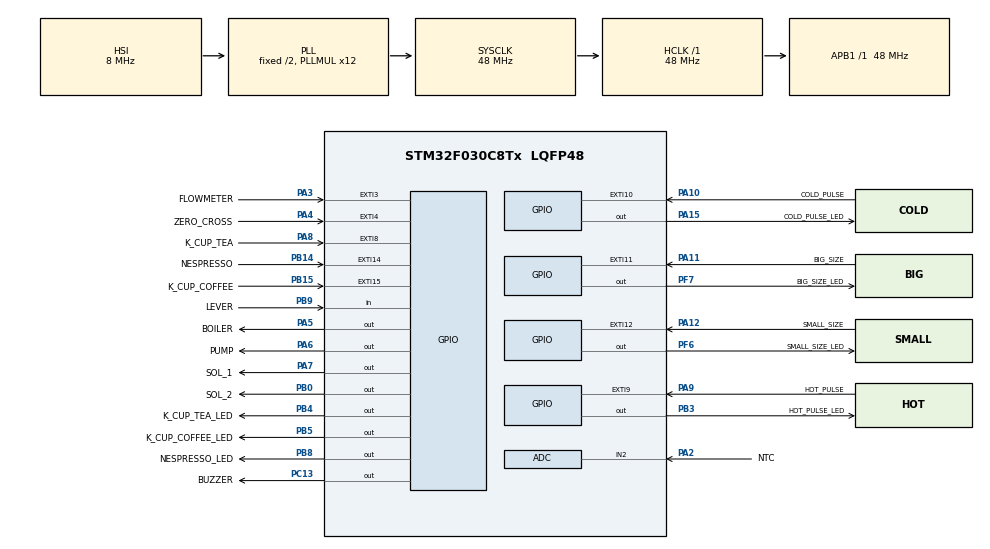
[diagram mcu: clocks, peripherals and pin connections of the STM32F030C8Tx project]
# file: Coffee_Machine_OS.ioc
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ADC.SamplingTime=ADC_SAMPLETIME_239CYCLES_5
FREERTOS.INCLUDE_xTaskGetCurrentTaskHandle=0
FREERTOS.INCLUDE_xTaskGetHandle=0
FREERTOS.Tasks01=ledhandlertask,24,64,LedHandler,Default,NULL,Dynamic,NULL,NULL;buttonhandlertask,24,64,ButtonHandler,Default,NULL,Dynamic,NULL,NULL;maintask,24,256,MainTaskHandler,Default,NULL,Dynamic,NULL,NULL;buzzerhandlertask,24,64,BuzzerHandler,Default,NULL,Dynamic,NULL,NULL;errorhandlertask,24,64,ErrorHandler,Default,NULL,Dynamic,NULL,NULL
FREERTOS.configMAX_TASK_NAME_LEN=25
FREERTOS.configMINIMAL_STACK_SIZE=64
FREERTOS.configTOTAL_HEAP_SIZE=3072
FREERTOS.configUSE_MUTEXES=1
FREERTOS.configUSE_TIMERS=0
Mcu.Family=STM32F0
Mcu.Name=STM32F030C8Tx
Mcu.Package=LQFP48
NVIC.EXTI2_3_IRQn=true\:3\:0\:true\:false\:true\:true\:true\:true\:true
NVIC.EXTI4_15_IRQn=true\:3\:0\:false\:false\:true\:true\:true\:true\:true
NVIC.TIM14_IRQn=true\:0\:0\:false\:false\:true\:false\:true\:true\:true
NVIC.TIM1_BRK_UP_TRG_COM_IRQn=true\:3\:0\:false\:false\:true\:false\:false\:true\:true
NVIC.TIM6_IRQn=true\:3\:0\:false\:false\:true\:true\:true\:true\:true
NVIC.TimeBase=TIM1_BRK_UP_TRG_COM_IRQn
NVIC.TimeBaseIP=TIM1
PA10.GPIO_Label=COLD_PULSE
PA10.GPIO_ModeDefaultEXTI=GPIO_MODE_IT_FALLING
PA10.GPIO_PuPd=GPIO_PULLUP
PA10.Signal=GPXTI10
PA11.GPIO_Label=BIG_SIZE
PA11.GPIO_ModeDefaultEXTI=GPIO_MODE_IT_FALLING
PA11.GPIO_PuPd=GPIO_PULLUP
PA11.Signal=GPXTI11
PA12.GPIO_Label=SMALL_SIZE
PA12.GPIO_ModeDefaultEXTI=GPIO_MODE_IT_FALLING
PA12.GPIO_PuPd=GPIO_PULLUP
PA12.Signal=GPXTI12
PA13.Mode=Serial_Wire
PA13.Signal=SYS_SWDIO
PA14.Mode=Serial_Wire
PA14.Signal=SYS_SWCLK
PA15.GPIO_Label=COLD_PULSE_LED
PA15.Signal=GPIO_Output
PA2.GPIO_Label=NTC
PA2.Mode=IN2
PA2.Signal=ADC_IN2
PA3.GPIO_Label=FLOWMETER
PA3.Signal=GPXTI3
PA4.GPIO_Label=ZERO_CROSS
PA4.GPIO_ModeDefaultEXTI=GPIO_MODE_IT_FALLING
PA4.Signal=GPXTI4
PA5.GPIO_Label=BOILER
PA5.Signal=GPIO_Output
PA6.GPIO_Label=PUMP
PA6.Signal=GPIO_Output
PA7.GPIO_Label=SOL_1
PA7.Signal=GPIO_Output
PA8.GPIO_Label=K_CUP_TEA
PA8.GPIO_ModeDefaultEXTI=GPIO_MODE_IT_FALLING
PA8.GPIO_PuPd=GPIO_PULLUP
PA8.Signal=GPXTI8
PA9.GPIO_Label=HOT_PULSE
PA9.GPIO_ModeDefaultEXTI=GPIO_MODE_IT_FALLING
PA9.GPIO_PuPd=GPIO_PULLUP
PA9.Signal=GPXTI9
PB0.GPIO_Label=SOL_2
PB0.Signal=GPIO_Output
PB14.GPIO_Label=NESPRESSO
PB14.GPIO_ModeDefaultEXTI=GPIO_MODE_IT_FALLING
PB14.GPIO_PuPd=GPIO_PULLUP
PB14.Signal=GPXTI14
PB15.GPIO_Label=K_CUP_COFFEE
PB15.GPIO_ModeDefaultEXTI=GPIO_MODE_IT_FALLING
PB15.GPIO_PuPd=GPIO_PULLUP
PB15.Signal=GPXTI15
PB3.GPIO_Label=HOT_PULSE_LED
PB3.Signal=GPIO_Output
PB4.GPIO_Label=K_CUP_TEA_LED
PB4.Signal=GPIO_Output
PB5.GPIO_Label=K_CUP_COFFEE_LED
PB5.Signal=GPIO_Output
PB8.GPIO_Label=NESPRESSO_LED
PB8.Signal=GPIO_Output
PB9.GPIO_Label=LEVER
PB9.Signal=GPIO_Input
PC13.GPIO_Label=BUZZER
PC13.Signal=GPIO_Output
PF6.GPIO_Label=SMALL_SIZE_LED
PF6.Signal=GPIO_Output
PF7.GPIO_Label=BIG_SIZE_LED
PF7.Signal=GPIO_Output
ProjectManager.HeapSize=0x200
ProjectManager.StackSize=0x400
ProjectManager.TargetToolchain=MDK-ARM V5
RCC.AHBFreq_Value=48000000
RCC.APB1Freq_Value=48000000
RCC.APB1TimFreq_Value=48000000
RCC.HCLKFreq_Value=48000000
RCC.PLLMUL=RCC_PLL_MUL12
RCC.SYSCLKFreq_VALUE=48000000
RCC.SYSCLKSource=RCC_SYSCLKSOURCE_PLLCLK
TIM14.Period=100
TIM14.Prescaler=48-1
TIM6.Period=1000
TIM6.Prescaler=6-1
VP_FREERTOS_VS_CMSIS_V2.Mode=CMSIS_V2
VP_SYS_VS_tim1.Mode=TIM1
VP_TIM14_VS_ClockSourceINT.Mode=Enable_Timer
VP_TIM6_VS_ClockSourceINT.Mode=Enable_Timer
board=custom

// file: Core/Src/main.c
/* USER CODE BEGIN Header */
/**
  ******************************************************************************
  * @file           : main.c
  * @brief          : Main program body
  ******************************************************************************
  * @attention
  *
  * Copyright (c) 2022 STMicroelectronics.
  * All rights reserved.
  *
  * This software is licensed under terms that can be found in the LICENSE file
  * in the root directory of this software component.
  * If no LICENSE file comes with this software, it is provided AS-IS.
  *
  ******************************************************************************
  */
/* USER CODE END Header */
#include "main.h"
#include "cmsis_os.h"

ADC_HandleTypeDef hadc;

TIM_HandleTypeDef htim6;
TIM_HandleTypeDef htim14;

/* Definitions for ledhandlertask */
osThreadId_t ledhandlertaskHandle;
const osThreadAttr_t ledhandlertask_attributes = {
  .name = "ledhandlertask",
  .stack_size = 64 * 4,
  .priority = (osPriority_t) osPriorityNormal,
};
/* Definitions for buttonhandlertask */
osThreadId_t buttonhandlertaskHandle;
const osThreadAttr_t buttonhandlertask_attributes = {
  .name = "buttonhandlertask",
  .stack_size = 64 * 4,
  .priority = (osPriority_t) osPriorityNormal,
};
/* Definitions for maintask */
osThreadId_t maintaskHandle;
const osThreadAttr_t maintask_attributes = {
  .name = "maintask",
  .stack_size = 256 * 4,
  .priority = (osPriority_t) osPriorityNormal,
};
/* Definitions for buzzerhandlertask */
osThreadId_t buzzerhandlertaskHandle;
const osThreadAttr_t buzzerhandlertask_attributes = {
  .name = "buzzerhandlertask",
  .stack_size = 64 * 4,
  .priority = (osPriority_t) osPriorityNormal,
};
/* Definitions for errorhandlertask */
osThreadId_t errorhandlertaskHandle;
const osThreadAttr_t errorhandlertask_attributes = {
  .name = "errorhandlertask",
  .stack_size = 64 * 4,
  .priority = (osPriority_t) osPriorityNormal,
};

void SystemClock_Config(void);
static void MX_GPIO_Init(void);
static void MX_ADC_Init(void);
static void MX_TIM6_Init(void);
static void MX_TIM14_Init(void);
void LedHandler(void *argument);
void ButtonHandler(void *argument);
void MainTaskHandler(void *argument);
void BuzzerHandler(void *argument);
void ErrorHandler(void *argument);

int main(void)
{

  /* MCU Configuration--------------------------------------------------------*/

  /* Reset of all peripherals, Initializes the Flash interface and the Systick. */
  HAL_Init();

  /* Configure the system clock */
  SystemClock_Config();

  /* Initialize all configured peripherals */
  MX_GPIO_Init();
  MX_ADC_Init();
  MX_TIM6_Init();
  MX_TIM14_Init();

  /* Init scheduler */
  osKernelInitialize();

  /* Create the thread(s) */
  /* creation of ledhandlertask */
  ledhandlertaskHandle = osThreadNew(LedHandler, NULL, &ledhandlertask_attributes);

  /* creation of buttonhandlertask */
  buttonhandlertaskHandle = osThreadNew(ButtonHandler, NULL, &buttonhandlertask_attributes);

  /* creation of maintask */
  maintaskHandle = osThreadNew(MainTaskHandler, NULL, &maintask_attributes);

  /* creation of buzzerhandlertask */
  buzzerhandlertaskHandle = osThreadNew(BuzzerHandler, NULL, &buzzerhandlertask_attributes);

  /* creation of errorhandlertask */
  errorhandlertaskHandle = osThreadNew(ErrorHandler, NULL, &errorhandlertask_attributes);

  /* Start scheduler */
  osKernelStart();

  /* We should never get here as control is now taken by the scheduler */
  /* Infinite loop */
  while (1)
  {

  }
}

void SystemClock_Config(void)
{
  RCC_OscInitTypeDef RCC_OscInitStruct = {0};
  RCC_ClkInitTypeDef RCC_ClkInitStruct = {0};

  /** Initializes the RCC Oscillators according to the specified parameters
  * in the RCC_OscInitTypeDef structure.
  */
  RCC_OscInitStruct.OscillatorType = RCC_OSCILLATORTYPE_HSI|RCC_OSCILLATORTYPE_HSI14;
  RCC_OscInitStruct.HSIState = RCC_HSI_ON;
  RCC_OscInitStruct.HSI14State = RCC_HSI14_ON;
  RCC_OscInitStruct.HSICalibrationValue = RCC_HSICALIBRATION_DEFAULT;
  RCC_OscInitStruct.HSI14CalibrationValue = 16;
  RCC_OscInitStruct.PLL.PLLState = RCC_PLL_ON;
  RCC_OscInitStruct.PLL.PLLSource = RCC_PLLSOURCE_HSI;
  RCC_OscInitStruct.PLL.PLLMUL = RCC_PLL_MUL12;
  RCC_OscInitStruct.PLL.PREDIV = RCC_PREDIV_DIV1;
  if (HAL_RCC_OscConfig(&RCC_OscInitStruct) != HAL_OK)
  {
    Error_Handler();
  }

  /** Initializes the CPU, AHB and APB buses clocks
  */
  RCC_ClkInitStruct.ClockType = RCC_CLOCKTYPE_HCLK|RCC_CLOCKTYPE_SYSCLK
                              |RCC_CLOCKTYPE_PCLK1;
  RCC_ClkInitStruct.SYSCLKSource = RCC_SYSCLKSOURCE_PLLCLK;
  RCC_ClkInitStruct.AHBCLKDivider = RCC_SYSCLK_DIV1;
  RCC_ClkInitStruct.APB1CLKDivider = RCC_HCLK_DIV1;

  if (HAL_RCC_ClockConfig(&RCC_ClkInitStruct, FLASH_LATENCY_1) != HAL_OK)
  {
    Error_Handler();
  }
}

static void MX_ADC_Init(void)
{

  ADC_ChannelConfTypeDef sConfig = {0};

  /** Configure the global features of the ADC (Clock, Resolution, Data Alignment and number of conversion)
  */
  hadc.Instance = ADC1;
  hadc.Init.ClockPrescaler = ADC_CLOCK_ASYNC_DIV1;
  hadc.Init.Resolution = ADC_RESOLUTION_12B;
  hadc.Init.DataAlign = ADC_DATAALIGN_RIGHT;
  hadc.Init.ScanConvMode = ADC_SCAN_DIRECTION_FORWARD;
  hadc.Init.EOCSelection = ADC_EOC_SINGLE_CONV;
  hadc.Init.LowPowerAutoWait = DISABLE;
  hadc.Init.LowPowerAutoPowerOff = DISABLE;
  hadc.Init.ContinuousConvMode = DISABLE;
  hadc.Init.DiscontinuousConvMode = DISABLE;
  hadc.Init.ExternalTrigConv = ADC_SOFTWARE_START;
  hadc.Init.ExternalTrigConvEdge = ADC_EXTERNALTRIGCONVEDGE_NONE;
  hadc.Init.DMAContinuousRequests = DISABLE;
  hadc.Init.Overrun = ADC_OVR_DATA_PRESERVED;
  if (HAL_ADC_Init(&hadc) != HAL_OK)
  {
    Error_Handler();
  }

  /** Configure for the selected ADC regular channel to be converted.
  */
  sConfig.Channel = ADC_CHANNEL_2;
  sConfig.Rank = ADC_RANK_CHANNEL_NUMBER;
  sConfig.SamplingTime = ADC_SAMPLETIME_239CYCLES_5;
  if (HAL_ADC_ConfigChannel(&hadc, &sConfig) != HAL_OK)
  {
    Error_Handler();
  }

}

static void MX_TIM6_Init(void)
{

  htim6.Instance = TIM6;
  htim6.Init.Prescaler = 6-1;
  htim6.Init.CounterMode = TIM_COUNTERMODE_UP;
  htim6.Init.Period = 1000;
  htim6.Init.AutoReloadPreload = TIM_AUTORELOAD_PRELOAD_DISABLE;
  if (HAL_TIM_Base_Init(&htim6) != HAL_OK)
  {
    Error_Handler();
  }

}

static void MX_TIM14_Init(void)
{

  htim14.Instance = TIM14;
  htim14.Init.Prescaler = 48-1;
  htim14.Init.CounterMode = TIM_COUNTERMODE_UP;
  htim14.Init.Period = 100;
  htim14.Init.ClockDivision = TIM_CLOCKDIVISION_DIV1;
  htim14.Init.AutoReloadPreload = TIM_AUTORELOAD_PRELOAD_DISABLE;
  if (HAL_TIM_Base_Init(&htim14) != HAL_OK)
  {
    Error_Handler();
  }

}

static void MX_GPIO_Init(void)
{
  GPIO_InitTypeDef GPIO_InitStruct = {0};

  /* GPIO Ports Clock Enable */
  __HAL_RCC_GPIOC_CLK_ENABLE();
  __HAL_RCC_GPIOA_CLK_ENABLE();
  __HAL_RCC_GPIOB_CLK_ENABLE();
  __HAL_RCC_GPIOF_CLK_ENABLE();

  /*Configure GPIO pin Output Level */
  HAL_GPIO_WritePin(BUZZER_GPIO_Port, BUZZER_Pin, GPIO_PIN_RESET);

  /*Configure GPIO pin Output Level */
  HAL_GPIO_WritePin(GPIOA, BOILER_Pin|PUMP_Pin|SOL_1_Pin|COLD_PULSE_LED_Pin, GPIO_PIN_RESET);

  /*Configure GPIO pin Output Level */
  HAL_GPIO_WritePin(GPIOB, SOL_2_Pin|HOT_PULSE_LED_Pin|K_CUP_TEA_LED_Pin|K_CUP_COFFEE_LED_Pin
                          |NESPRESSO_LED_Pin, GPIO_PIN_RESET);

  /*Configure GPIO pin Output Level */
  HAL_GPIO_WritePin(GPIOF, SMALL_SIZE_LED_Pin|BIG_SIZE_LED_Pin, GPIO_PIN_RESET);

  /*Configure GPIO pin : BUZZER_Pin */
  GPIO_InitStruct.Pin = BUZZER_Pin;
  GPIO_InitStruct.Mode = GPIO_MODE_OUTPUT_PP;
  GPIO_InitStruct.Pull = GPIO_NOPULL;
  GPIO_InitStruct.Speed = GPIO_SPEED_FREQ_LOW;
  HAL_GPIO_Init(BUZZER_GPIO_Port, &GPIO_InitStruct);

  /*Configure GPIO pin : FLOWMETER_Pin */
  GPIO_InitStruct.Pin = FLOWMETER_Pin;
  GPIO_InitStruct.Mode = GPIO_MODE_IT_RISING;
  GPIO_InitStruct.Pull = GPIO_NOPULL;
  HAL_GPIO_Init(FLOWMETER_GPIO_Port, &GPIO_InitStruct);

  /*Configure GPIO pin : ZERO_CROSS_Pin */
  GPIO_InitStruct.Pin = ZERO_CROSS_Pin;
  GPIO_InitStruct.Mode = GPIO_MODE_IT_FALLING;
  GPIO_InitStruct.Pull = GPIO_NOPULL;
  HAL_GPIO_Init(ZERO_CROSS_GPIO_Port, &GPIO_InitStruct);

  /*Configure GPIO pins : BOILER_Pin PUMP_Pin SOL_1_Pin COLD_PULSE_LED_Pin */
  GPIO_InitStruct.Pin = BOILER_Pin|PUMP_Pin|SOL_1_Pin|COLD_PULSE_LED_Pin;
  GPIO_InitStruct.Mode = GPIO_MODE_OUTPUT_PP;
  GPIO_InitStruct.Pull = GPIO_NOPULL;
  GPIO_InitStruct.Speed = GPIO_SPEED_FREQ_LOW;
  HAL_GPIO_Init(GPIOA, &GPIO_InitStruct);

  /*Configure GPIO pins : SOL_2_Pin HOT_PULSE_LED_Pin K_CUP_TEA_LED_Pin K_CUP_COFFEE_LED_Pin
                           NESPRESSO_LED_Pin */
  GPIO_InitStruct.Pin = SOL_2_Pin|HOT_PULSE_LED_Pin|K_CUP_TEA_LED_Pin|K_CUP_COFFEE_LED_Pin
                          |NESPRESSO_LED_Pin;
  GPIO_InitStruct.Mode = GPIO_MODE_OUTPUT_PP;
  GPIO_InitStruct.Pull = GPIO_NOPULL;
  GPIO_InitStruct.Speed = GPIO_SPEED_FREQ_LOW;
  HAL_GPIO_Init(GPIOB, &GPIO_InitStruct);

  /*Configure GPIO pins : NESPRESSO_Pin K_CUP_COFFEE_Pin */
  GPIO_InitStruct.Pin = NESPRESSO_Pin|K_CUP_COFFEE_Pin;
  GPIO_InitStruct.Mode = GPIO_MODE_IT_FALLING;
  GPIO_InitStruct.Pull = GPIO_PULLUP;
  HAL_GPIO_Init(GPIOB, &GPIO_InitStruct);

  /*Configure GPIO pins : K_CUP_TEA_Pin HOT_PULSE_Pin COLD_PULSE_Pin BIG_SIZE_Pin
                           SMALL_SIZE_Pin */
  GPIO_InitStruct.Pin = K_CUP_TEA_Pin|HOT_PULSE_Pin|COLD_PULSE_Pin|BIG_SIZE_Pin
                          |SMALL_SIZE_Pin;
  GPIO_InitStruct.Mode = GPIO_MODE_IT_FALLING;
  GPIO_InitStruct.Pull = GPIO_PULLUP;
  HAL_GPIO_Init(GPIOA, &GPIO_InitStruct);

  /*Configure GPIO pins : SMALL_SIZE_LED_Pin BIG_SIZE_LED_Pin */
  GPIO_InitStruct.Pin = SMALL_SIZE_LED_Pin|BIG_SIZE_LED_Pin;
  GPIO_InitStruct.Mode = GPIO_MODE_OUTPUT_PP;
  GPIO_InitStruct.Pull = GPIO_NOPULL;
  GPIO_InitStruct.Speed = GPIO_SPEED_FREQ_LOW;
  HAL_GPIO_Init(GPIOF, &GPIO_InitStruct);

  /*Configure GPIO pin : LEVER_Pin */
  GPIO_InitStruct.Pin = LEVER_Pin;
  GPIO_InitStruct.Mode = GPIO_MODE_INPUT;
  GPIO_InitStruct.Pull = GPIO_NOPULL;
  HAL_GPIO_Init(LEVER_GPIO_Port, &GPIO_InitStruct);

  /* EXTI interrupt init*/
  HAL_NVIC_SetPriority(EXTI2_3_IRQn, 3, 0);
  HAL_NVIC_EnableIRQ(EXTI2_3_IRQn);

  HAL_NVIC_SetPriority(EXTI4_15_IRQn, 3, 0);
  HAL_NVIC_EnableIRQ(EXTI4_15_IRQn);

}

/* USER CODE BEGIN 4 */
void HAL_GPIO_EXTI_Callback(uint16_t GPIO_Pin)
{
	if(GPIO_Pin == ZERO_CROSS_Pin)
    {
			zero_cross_handler();
		}

	else if(GPIO_Pin == FLOWMETER_Pin)
		{

		}

	else osThreadFlagsSet(buttonhandlertaskHandle,(uint32_t)GPIO_Pin);

}
/* USER CODE END 4 */

void LedHandler(void *argument)
{
  /* USER CODE BEGIN 5 */
	uint32_t evnt  = 0;

  /* Infinite loop */
	for(;;)
  {

		evnt = osThreadFlagsWait(LED_TASK_WAIT_BITS,osFlagsWaitAny,osWaitForever);

		led_handler(evnt);

		osThreadFlagsClear(LED_TASK_WAIT_BITS);

    osDelay(10);

  }
  /* USER CODE END 5 */
}

void ButtonHandler(void *argument)
{
  /* USER CODE BEGIN ButtonHandler */
	uint32_t evnt = 0;
	uint32_t current_mode = RESET_MODE;

	// Check for Prog Mode on Startup and send default sleep timeout value to main task
	check_prog_mode(&current_mode);

	//	osThreadFlagsClear(ALL_BITS); // ??

  /* Infinite loop */
  for(;;)
  {

		// needs semaphore or some synchronisation from maintask in error mode

		evnt = osThreadFlagsWait(BUTTON_TASK_WAIT_BITS,osFlagsWaitAny,osWaitForever);

		button_handler(evnt,&current_mode);

		osThreadFlagsClear(BUTTON_TASK_WAIT_BITS);

    osDelay(10);
  }
  /* USER CODE END ButtonHandler */
}

void MainTaskHandler(void *argument)
{
  /* USER CODE BEGIN MainTaskHandler */
	uint32_t evnt = 0;
	uint32_t sleep_timeout_val = 0;
	 // wait for sleep timeout value from parser task
	sleep_timeout_val = osThreadFlagsWait(BUTTON_WAIT_BITS,osFlagsWaitAny,osWaitForever);
	// save

	pump_handler_timer_enable();

  /* Infinite loop */
  for(;;)
  {
		Process_Handler();
    osDelay(10);
  }
  /* USER CODE END MainTaskHandler */
}

void BuzzerHandler(void *argument)
{
  /* USER CODE BEGIN BuzzerHandler */
	uint32_t evnt = 0;
  /* Infinite loop */
  for(;;)
  {
		evnt = osThreadFlagsWait(BUZZER_TASK_WAIT_BITS,osFlagsWaitAny,osWaitForever);

		buzzer_handler(evnt);

		osThreadFlagsClear(BUZZER_TASK_WAIT_BITS);

    osDelay(10);

  }
  /* USER CODE END BuzzerHandler */
}

void ErrorHandler(void *argument)
{
  for(;;)
  {
    osDelay(1);
  }
}

void HAL_TIM_PeriodElapsedCallback(TIM_HandleTypeDef *htim)
{
  if (htim->Instance == TIM1) {
    HAL_IncTick();
  }
  /* USER CODE BEGIN Callback 1 */
	Buzzer_Beep_TIM_handler(htim);
  /* USER CODE END Callback 1 */
}

void Error_Handler(void)
{
  __disable_irq();
  while (1)
  {
  }
}
